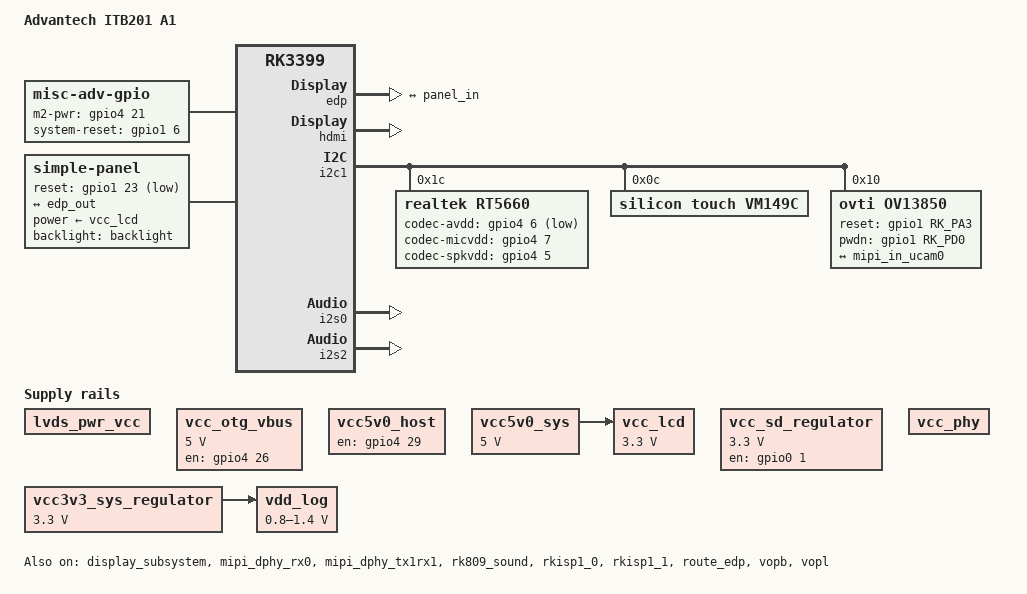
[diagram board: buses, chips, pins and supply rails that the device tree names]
// SPDX-License-Identifier: (GPL-2.0+ OR MIT)
/*
 * Copyright (c) 2019-2020 Fuzhou Rockchip Electronics Co., Ltd.
 */

/dts-v1/;

#include "rk3399-adv-ind.dtsi"
#include "rk3399-linux.dtsi"

/ {
	model = "Advantech ITB201 A1";
	compatible = "rockchip,rk3399-itb201-a1", "rockchip,rk3399";

	rk_key: rockchip-key {
		compatible = "rockchip,key";
		status = "okay";
		pinctrl-names = "default";
		pinctrl-0 = <&pmic_pwr_key>;

		power-key {
			gpios = <&gpio0 5 GPIO_ACTIVE_LOW>;
			linux,code = <116>;
			label = "GPIO Power Key";
			gpio-key,wakeup = <1>;
			polling-release-time = <1000>;//unit:ms
		};
	};

	misc-adv-gpio {
		compatible = "misc-adv-gpio";
		status = "okay";
		pinctrl-names = "default";
		pinctrl-0 = <&m2_pwr_h &system_rst_h &adv_gpios>;
		m2-pwr-gpio = <&gpio4 21 GPIO_ACTIVE_HIGH>;
		system-reset-gpio = <&gpio1 6 GPIO_ACTIVE_HIGH>;
		timing-interval = <110>;
	};

	gpio_export {
		compatible = "adv,gpio_export";
		pinctrl-names = "default";
		pinctrl-0 = <&gpios_export_pins>;
		gpio_counts = <16>; //gpio counts
		adv,export-gpio-use-number;
		#address-cells = <0x1>;
		#size-cells = <0x1>;
		status = "okay";

		gpio-0 = <84 0x0>;
		gpio-1 = <85 0x0>;
		gpio-2 = <86 0x0>;
		gpio-3 = <87 0x0>;
		gpio-4 = <88 0x0>;
		gpio-5 = <89 0x0>;
		gpio-6 = <8 0x0>;
		gpio-7 = <91 0x0>;
		gpio-8 = <124 0x0>;
		gpio-9 = <125 0x0>;
		gpio-10 = <131 0x0>;
		gpio-11 = <132 0x0>;
		gpio-12 = <66 0x0>;
		gpio-13 = <67 0x0>;
		gpio-14 = <68 0x0>;
		gpio-15 = <70 0x0>;
	};

	//lvds vcc
	lvds_pwr_vcc: lvds-pwr-vcc {
		compatible = "regulator-fixed";
		regulator-name = "lvds_pwr_vcc";
		pinctrl-names = "default";
		pinctrl-0 = <&lvds_vdd_pwr>;
		//gpio = <&gpio1 0 GPIO_ACTIVE_HIGH>;
		//startup-delay-us = <20000>;
		enable-active-high;
		//regulator-always-on;
		regulator-boot-on;
		regulator-uboot-logo;
		status = "okay";
	};

	rt5660-sound {
		compatible = "simple-audio-card";
		simple-audio-card,format = "i2s";
		simple-audio-card,name = "rockchip,rt5660-codec";
		simple-audio-card,mclk-fs = <256>;
		status = "okay";

		simple-audio-card,widgets =
				"Microphone", "Microphone Jack",
				"Headphone", "Headphone Jack";
		simple-audio-card,routing =
				"IN1P", "Microphone Jack",
				"IN1N", "Microphone Jack",
				"Microphone Jack", "MICBIAS1",
				"IN3P", "Microphone Jack",
				"IN3N", "Microphone Jack",
				"Microphone Jack", "MICBIAS2",
				"Headphone Jack", "SPO",
				"Headphone Jack", "LOUTL",
				"Headphone Jack", "LOUTR";

		simple-audio-card,cpu {
				sound-dai = <&i2s0>;
		};
		simple-audio-card,codec {
				sound-dai = <&rt5660>;
		};
	};

	hdmi_sound: hdmi-sound {
		status = "okay";
		compatible = "simple-audio-card";
		simple-audio-card,format = "i2s";
		simple-audio-card,mclk-fs = <256>;
		simple-audio-card,name = "rockchip,hdmi";

		simple-audio-card,cpu {
			sound-dai = <&i2s2>;
		};
		simple-audio-card,codec {
			sound-dai = <&hdmi>;
		};
	};

	vcc_otg_vbus: otg-vbus-regulator {
		compatible = "regulator-fixed";
		gpio = <&gpio4 26 GPIO_ACTIVE_HIGH>;
		pinctrl-names = "default";
		pinctrl-0 = <&otg_vbus_drv>;
		regulator-name = "vcc_otg_vbus";
		regulator-min-microvolt = <5000000>;
		regulator-max-microvolt = <5000000>;
		enable-active-high;
	};

	vcc5v0_host: vcc5v0-host-regulator {
		compatible = "regulator-fixed";
		enable-active-high;
		gpio = <&gpio4 29 GPIO_ACTIVE_HIGH>;
		pinctrl-names = "default";
		pinctrl-0 = <&vcc5v0_host_vbus_drv>;
		regulator-name = "vcc5v0_host";
		regulator-always-on;
	};

	vcc5v0_sys: vcc5v0-sys {
		compatible = "regulator-fixed";
		regulator-name = "vcc5v0_sys";
		regulator-always-on;
		regulator-boot-on;
		regulator-min-microvolt = <5000000>;
		regulator-max-microvolt = <5000000>;
	};

	vcc_sd_regulator: vcc-sd {
		compatible = "regulator-fixed";
		enable-active-high;
		gpio = <&gpio0 1 GPIO_ACTIVE_HIGH>;
		pinctrl-names = "default";
		pinctrl-0 = <&vcc_sd_h>;
		regulator-name = "vcc_sd_regulator";
		regulator-min-microvolt = <3300000>;
		regulator-max-microvolt = <3300000>;
		regulator-boot-on;
	};

	vcc_phy: vcc-phy-regulator {
		compatible = "regulator-fixed";
		regulator-name = "vcc_phy";
		regulator-always-on;
		regulator-boot-on;
	};

	vcc3v3_sys_regulator: vcc3v3-sys {
		compatible = "regulator-fixed";
		regulator-name = "vcc3v3_sys_regulator";
		regulator-always-on;
		regulator-boot-on;
		regulator-min-microvolt = <3300000>;
		regulator-max-microvolt = <3300000>;
	};

	vdd_log: vdd-log {
		compatible = "pwm-regulator";
		pwms = <&pwm2 0 25000 1>;
		regulator-name = "vdd_log";
		regulator-min-microvolt = <800000>;
		regulator-max-microvolt = <1400000>;
		regulator-always-on;
		regulator-boot-on;

		/* for rockchip boot on */
		rockchip,pwm_id= <2>;
		rockchip,pwm_voltage = <900000>;

		vin-supply = <&vcc3v3_sys_regulator>;
	};

	iram: sram@ff8d0000 {
		compatible = "mmio-sram";
		reg = <0x0 0xff8d0000 0x0 0x20000>;
	};

	vcc_lcd: vcc-lcd {
		compatible = "regulator-fixed";
		regulator-name = "vcc_lcd";
		startup-delay-us = <20000>;
		enable-active-high;
		regulator-min-microvolt = <3300000>;
		regulator-max-microvolt = <3300000>;
		regulator-boot-on;
		vin-supply = <&vcc5v0_sys>;
	};

	panel: panel {
		compatible = "simple-panel";
		backlight = <&backlight>;
		power-supply = <&vcc_lcd>;
		reset-gpios = <&gpio1 23 GPIO_ACTIVE_LOW>;
		prepare-delay-ms = <20>;
		enable-delay-ms = <20>;

		display-timings {
			native-mode = <&timing0>;

			timing0: timing0 {
				clock-frequency = <200000000>;
				hactive = <1536>;
				vactive = <2048>;
				hfront-porch = <12>;
				hsync-len = <16>;
				hback-porch = <48>;
				vfront-porch = <8>;
				vsync-len = <4>;
				vback-porch = <8>;
				hsync-active = <0>;
				vsync-active = <0>;
				de-active = <0>;
				pixelclk-active = <0>;
			};
		};

		ports {
			panel_in: endpoint {
				remote-endpoint = <&edp_out>;
			};
		};
	};

	test-power {
		status = "okay";
	};
};

&backlight {
	enable-gpios = <&gpio1 13 GPIO_ACTIVE_HIGH>;
};

&display_subsystem {
	status = "okay";
};

&dmac_bus {
	iram = <&iram>;
	rockchip,force-iram;
};

&dp_sound {
	status = "disabled";
};

&edp {
	status = "okay";
	force-hpd;

	ports {
		port@1 {
			reg = <1>;

			edp_out: endpoint {
				remote-endpoint = <&panel_in>;
			};
		};
	};
};

&edp_in_vopb {
	status = "disabled";
};

&hdmi {
	pinctrl-names = "default";
	pinctrl-0 = <&hdmi_i2c_xfer>;
	#address-cells = <1>;
	#size-cells = <0>;
	#sound-dai-cells = <0>;
	status = "okay";
	rockchip,phy-table =
		//mpixelclock sym_ctr term vlev_ctr
		//reg      0x09   0x19    0x0e
		<74250000 0x8009 0x0004 0x0272>,
		<165000000 0x802b 0x0004 0x0209>,
		<297000000 0x801d 0x0005 0x0010>,
		<594000000 0x803b 0x0000 0x0010>,
		//<594000000 0x801d 0x0000 0x0010>,
		<000000000 0x0000 0x0000 0x0000>;
};

&hdmi_in_vopl {
	status = "disabled";
};

&i2c1 {
	status = "okay";
	i2c-scl-rising-time-ns = <300>;
	i2c-scl-falling-time-ns = <15>;

	rt5660: rt5660@1c {
		#sound-dai-cells = <0>;
		compatible = "realtek,rt5660";
		rockchip,cru = <&cru>;
		rockchip,grf = <&grf>;
		reg = <0x1c>;
		codec-avdd-gpio = <&gpio4 6 GPIO_ACTIVE_LOW>;
		codec-avdd-delay = <200>;
		codec-micvdd-gpio = <&gpio4 7 GPIO_ACTIVE_HIGH>;
		codec-spkvdd-gpio = <&gpio4 5 GPIO_ACTIVE_HIGH>;
	
		clocks = <&cru SCLK_I2S_8CH_OUT>;
		clock-names = "mclk";

		pinctrl-names = "default";
		pinctrl-0 = <&i2s_8ch_mclk &codec_avdd &codec_micvdd &codec_spkvdd>;
	};

	vm149c: vm149c@0c {
		compatible = "silicon touch,vm149c";
		status = "okay";
		reg = <0x0c>;
		rockchip,camera-module-index = <0>;
		rockchip,camera-module-facing = "back";
	};

	ov13850: ov13850@10 {
		compatible = "ovti,ov13850";
		status = "okay";
		reg = <0x10>;
		clocks = <&cru SCLK_CIF_OUT>;
		clock-names = "xvclk";

		/* conflict with csi-ctl-gpios */
		reset-gpios = <&gpio1 RK_PA3 GPIO_ACTIVE_HIGH>;
		pwdn-gpios = <&gpio1 RK_PD0 GPIO_ACTIVE_HIGH>;
		pinctrl-names = "rockchip,camera_default";
		pinctrl-0 = <&cif_clkout>;
		rockchip,camera-module-index = <0>;
		rockchip,camera-module-facing = "back";
		rockchip,camera-module-name = "CMK-CT0116";
		rockchip,camera-module-lens-name = "Largan-50013A1";

		lens-focus = <&vm149c>;

		port {
			ucam_out0: endpoint {
				remote-endpoint = <&mipi_in_ucam0>;
				data-lanes = <1 2>;
			};
		};
	};
};

&i2s0 {
	#sound-dai-cells = <0>;
	status = "okay";
	pinctrl-0 = <&i2s0_8ch_bus_1 &codec_lout_mute>;
	amp-mute-gpio = <&gpio3 30 GPIO_ACTIVE_HIGH>;
};

&i2s1 {
	#sound-dai-cells = <0>;
	status = "disabled";
};

&i2s2 {
	#sound-dai-cells = <0>;
	status = "okay";
};

&hdmi_sound {
	status = "okay";
};

&mipi_dphy_rx0 {
	status = "okay";

	ports {
		#address-cells = <1>;
		#size-cells = <0>;

		port@0 {
			reg = <0>;
			#address-cells = <1>;
			#size-cells = <0>;

			mipi_in_ucam0: endpoint@1 {
				reg = <1>;
				remote-endpoint = <&ucam_out0>;
				data-lanes = <1 2>;
			};
		};

		port@1 {
			reg = <1>;
			#address-cells = <1>;
			#size-cells = <0>;

			dphy_rx0_out: endpoint@0 {
				reg = <0>;
				remote-endpoint = <&isp0_mipi_in>;
			};
		};
	};
};

&mipi_dphy_tx1rx1 {
	status = "okay";

	ports {
		#address-cells = <1>;
		#size-cells = <0>;

		port@0 {
			reg = <0>;
			#address-cells = <1>;
			#size-cells = <0>;

			mipi_in_ucam1: endpoint@1 {
				reg = <1>;
				/* Unlinked camera */
				//remote-endpoint = <&ucam_out1>;
				data-lanes = <1 2>;
			};
		};

		port@1 {
			reg = <1>;
			#address-cells = <1>;
			#size-cells = <0>;

			dphy_tx1rx1_out: endpoint@0 {
				reg = <0>;
				remote-endpoint = <&isp1_mipi_in>;
			};
		};
	};
};

&rk809_sound {
	status = "okay";
};

&rkisp1_0 {
	status = "okay";

	port {
		#address-cells = <1>;
		#size-cells = <0>;

		isp0_mipi_in: endpoint@0 {
			reg = <0>;
			remote-endpoint = <&dphy_rx0_out>;
		};
	};
};

&rkisp1_1 {
	status = "okay";

	port {
		#address-cells = <1>;
		#size-cells = <0>;

		isp1_mipi_in: endpoint@0 {
			reg = <0>;
			remote-endpoint = <&dphy_tx1rx1_out>;
		};
	};
};

&route_edp {
	status = "okay";
};

/*
 * if enable dp_sound, should disable spdif_sound and spdif_out
 */
&spdif_out {
	status = "disabled";
};

&spdif_sound {
	status = "disabled";
};

&tc358749x_sound {
	status = "disabled";
};

&vopb {
	status = "okay";
};

&vopb_mmu {
	status = "okay";
};

&vopl {
	status = "okay";
};

&vopl_mmu {
	status = "okay";
};

&pinctrl {
	lcd-panel {
		lcd_panel_reset: lcd-panel-reset {
			rockchip,pins = <1 RK_PC7 RK_FUNC_GPIO &pcfg_pull_up>;
		};
	};

	pmic {
		pmic_int_l: pmic-int-l {
			rockchip,pins =
				<1 21 RK_FUNC_GPIO &pcfg_pull_up>;
		};
		pmic_pwr_key: pmic-pwr-key {
			rockchip,pins =
				<0 5 RK_FUNC_GPIO &pcfg_pull_up>;
		};
		vsel1_gpio: vsel1-gpio {
			rockchip,pins =
				<1 17 RK_FUNC_GPIO &pcfg_pull_down>;
		};
		vsel2_gpio: vsel2-gpio {
			rockchip,pins =
				<1 14 RK_FUNC_GPIO &pcfg_pull_down>;
		};
		clk32k_in: clk32k-in {
			rockchip,pins =
				<0 0 RK_PA2 &pcfg_pull_down>;
		};
	};

	misc {
		m2_pwr_h: m2-pwr-h {
			rockchip,pins = <4 21 RK_FUNC_GPIO &pcfg_pull_none>; 
		};
		m2_pcie_reset_l: m2-pcie-reset-l {
			rockchip,pins = <1 23 RK_FUNC_GPIO &pcfg_pull_down>;
		};
		system_rst_h: system-rst-h {
			rockchip,pins = <1 6 RK_FUNC_GPIO &pcfg_pull_down>;
		};
		adv_gpios: adv-gpios {
			rockchip,pins = <1 18 RK_FUNC_GPIO &pcfg_pull_none>,
							<4 4  RK_FUNC_GPIO &pcfg_pull_none>;
		};
	};

	gpios_export_pins: gpios_export_pins {
		rockchip,pins = 
			<2 20 RK_FUNC_GPIO &pcfg_pull_up>,
			<2 21 RK_FUNC_GPIO &pcfg_pull_up>,
			<2 22 RK_FUNC_GPIO &pcfg_pull_up>,
			<2 23 RK_FUNC_GPIO &pcfg_pull_up>,
			<2 24 RK_FUNC_GPIO &pcfg_pull_up>,
			<2 25 RK_FUNC_GPIO &pcfg_pull_up>,
			<0 8 RK_FUNC_GPIO &pcfg_pull_up>,
			<2 27 RK_FUNC_GPIO &pcfg_pull_up>,
			<3 28 RK_FUNC_GPIO &pcfg_pull_up>,
			<3 29 RK_FUNC_GPIO &pcfg_pull_up>,
			<4 3 RK_FUNC_GPIO &pcfg_pull_up>,
			<4 4 RK_FUNC_GPIO &pcfg_pull_up>,
			<2 2 RK_FUNC_GPIO &pcfg_pull_up>,
			<2 3 RK_FUNC_GPIO &pcfg_pull_up>,
			<2 4 RK_FUNC_GPIO &pcfg_pull_up>,
			<2 6 RK_FUNC_GPIO &pcfg_pull_up>;
	};

	lvds-panel {
		lvds_vdd_pwr: lvds-vdd-pwr {
			rockchip,pins = <1 0 RK_FUNC_GPIO &pcfg_pull_down>;
		};
		lvds_bkl_pwm_en: lvds-bkl-pwm-en {
			rockchip,pins = <4 30 RK_FUNC_GPIO &pcfg_pull_down>;
		};
	};

	codec {
		codec_avdd: codec-avdd {
			rockchip,pins = <4 6 RK_FUNC_GPIO &pcfg_pull_down>;
		};
		codec_micvdd: codec-micvdd {
			rockchip,pins = <4 7 RK_FUNC_GPIO &pcfg_pull_down>;
		};
		codec_spkvdd: codec-spkvdd {
			rockchip,pins = <4 5 RK_FUNC_GPIO &pcfg_pull_down>;
		};
		codec_lout_mute: codec-lout-mute {
			rockchip,pins = <3 30  RK_FUNC_GPIO &pcfg_pull_none>;
		};
	};

	i2s0 {
		i2s0_8ch_bus_1: i2s0-8ch-bus-1 {
			rockchip,pins =
				<3 24 RK_PA1 &pcfg_pull_none>,
				<3 25 RK_PA1 &pcfg_pull_none>,
				<3 26 RK_PA1 &pcfg_pull_none>,
				<3 27 RK_PA1 &pcfg_pull_none>,
				<3 31 RK_PA1 &pcfg_pull_none>;
		};
	};

	usb {
		otg_vbus_drv: otg-vbus-drv {
			rockchip,pins = 
				<4 26 RK_FUNC_GPIO &pcfg_pull_none>;
		};
		vcc5v0_host_vbus_drv: host-vbus-drv {
			rockchip,pins =
				<4 29 RK_FUNC_GPIO &pcfg_pull_none>;
		};
	};

	vcc_sd {
		vcc_sd_h: vcc-sd-h {
			rockchip,pins =
				<0 1 RK_FUNC_GPIO &pcfg_pull_up>;
		};
	};
};

/* DON'T PUT ANYTHING BELOW HERE.  PUT IT ABOVE PINCTRL */
/* DON'T PUT ANYTHING BELOW HERE.  PUT IT ABOVE PINCTRL */
/* DON'T PUT ANYTHING BELOW HERE.  PUT IT ABOVE PINCTRL */

